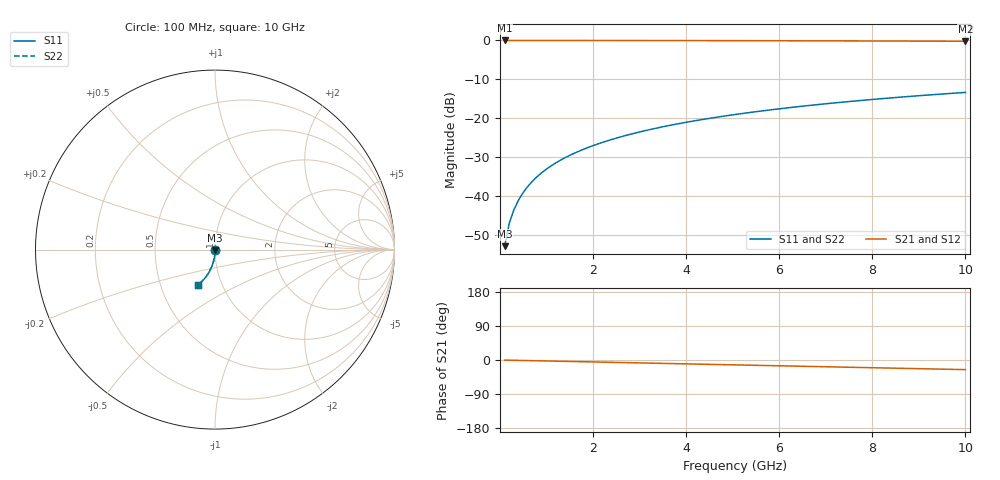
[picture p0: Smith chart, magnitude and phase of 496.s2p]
# Hz S RI R 50.00
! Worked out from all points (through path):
!   100 points, 100 MHz to 10 GHz, reference 50 ohm
!   highest |S21| = 0.00 dB at 100 MHz (marker M1); lowest = -0.2 dB at 10 GHz (marker M2)
!   group delay of S21, straight-line fit = 7.06 ps
!   lowest |S11| = -52.8 dB at 100 MHz (marker M3), VSWR 1.00, Z = 50 - j0.224 ohm
!   |S11| at or under -10 dB: start of sweep to end of sweep
!   |S22| runs from -52.8 to -13.3 dB; largest |S21 - S12| = 0
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1e8  0.000485 -0.00223  0.9995 -0.00445  0.9995 -0.00445  0.000485 -0.00223
2e8  0.000455 -0.00447  0.9994 -0.0089  0.9994 -0.0089  0.000455 -0.00447
3e8  0.000404 -0.0067  0.9994 -0.0134  0.9994 -0.0134  0.000404 -0.0067
4e8  0.000334 -0.00894  0.9993 -0.0178  0.9993 -0.0178  0.000334 -0.00894
5e8  0.000243 -0.0112  0.9992 -0.0223  0.9992 -0.0223  0.000243 -0.0112
6e8  0.000132 -0.0134  0.999 -0.0267  0.999 -0.0267  0.000132 -0.0134
7e8  5.25e-07 -0.0156  0.9989 -0.0312  0.9989 -0.0312  5.25e-07 -0.0156
8e8  -0.000151 -0.0179  0.9987 -0.0356  0.9987 -0.0356  -0.000151 -0.0179
9e8  -0.000322 -0.0201  0.9985 -0.0401  0.9985 -0.0401  -0.000322 -0.0201
1.1e9  -0.000723 -0.0245  0.9979 -0.0489  0.9979 -0.0489  -0.000723 -0.0245
1.4e9  -0.00148 -0.0312  0.997 -0.0623  0.997 -0.0623  -0.00148 -0.0312
1.8e9  -0.00276 -0.0401  0.9954 -0.08  0.9954 -0.08  -0.00276 -0.0401
2.1e9  -0.00392 -0.0467  0.9939 -0.0933  0.9939 -0.0933  -0.00392 -0.0467
2.5e9  -0.00575 -0.0554  0.9916 -0.1109  0.9916 -0.1109  -0.00575 -0.0554
2.9e9  -0.00789 -0.0641  0.989 -0.1285  0.989 -0.1285  -0.00789 -0.0641
3.4e9  -0.011 -0.0749  0.9851 -0.1504  0.9851 -0.1504  -0.011 -0.0749
4.2e9  -0.017 -0.0918  0.9776 -0.1851  0.9776 -0.1851  -0.017 -0.0918
5.1e9  -0.0251 -0.1102  0.9674 -0.2236  0.9674 -0.2236  -0.0251 -0.1102
5.9e9  -0.0335 -0.1259  0.9567 -0.2573  0.9567 -0.2573  -0.0335 -0.1259
6.7e9  -0.043 -0.141  0.9447 -0.2903  0.9447 -0.2903  -0.043 -0.141
8.4e9  -0.0664 -0.1705  0.9147 -0.3581  0.9147 -0.3581  -0.0664 -0.1705
1e10  -0.092 -0.1945  0.8814 -0.4183  0.8814 -0.4183  -0.092 -0.1945
